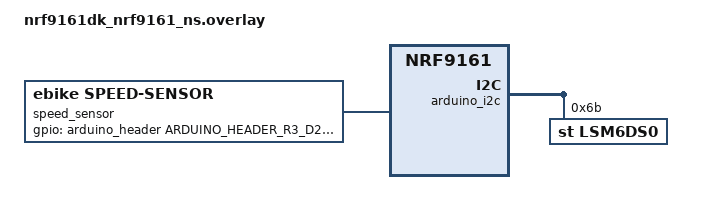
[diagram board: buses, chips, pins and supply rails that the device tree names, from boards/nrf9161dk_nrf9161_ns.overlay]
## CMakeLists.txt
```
# SPDX-License-Identifier: Apache-2.0
cmake_minimum_required(VERSION 3.20.0)

find_package(Zephyr REQUIRED HINTS $ENV{ZEPHYR_BASE})
project(ebike)

target_sources(app PRIVATE
  src/main.c
  src/modules/speed.c
  src/modules/sensor.c
  src/modules/connectivity.c
  src/events/channels.c
)

target_include_directories(app PRIVATE src)
```

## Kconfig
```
# eBike project — custom Kconfig options.

mainmenu "eBike firmware"

# === Cellular connectivity ===================================================

config EBIKE_APN
	string "SIM APN (empty = APN supplied by the network)"
	default ""
	help
	  Access Point Name forced on the default PDP context (CID 0). Leave
	  empty to let the network provide it, which is what most LTE-M IoT
	  SIMs expect. Requires CONFIG_LTE_LC_PDN_MODULE=y.

config EBIKE_PDN_IPV4_ONLY
	bool "Request an IPv4-only default PDP context"
	default n
	help
	  Diagnostic fallback: ask for IPv4 instead of IPv4v6, as some visited
	  networks reject the IPV4V6 type. No effect when EBIKE_APN is empty.

# === Shared runtime defaults (carried on CH_CONFIG) ==========================

config EBIKE_PUBLISH_RIDING_S
	int "Publish interval while riding (seconds)"
	default 60
	range 10 3600
	help
	  Interval between MQTT publications when the bike is moving. Below
	  60 s the LTE link stays in RRC connected almost permanently and
	  starves the GNSS receiver.

config EBIKE_MOTION_THRESHOLD_MG
	int "IMU motion detection threshold (milli-g)"
	default 150
	range 10 2000
	help
	  Norm of the acceleration delta between two IMU polls above which
	  movement is reported. Using the delta cancels gravity, so the test is
	  insensitive to how the bike is oriented. 150 mg ignores sensor noise
	  (~10-20 mg) while still catching someone handling the bike.

config EBIKE_GEOFENCE_RADIUS_M
	int "Default geofence radius (metres)"
	default 500
	range 20 1000000
	help
	  Allowed radius around the home point. A value pushed through the
	  Device Shadow and persisted in NVS takes precedence.

module = EBIKE
module-str = eBike
source "${ZEPHYR_BASE}/subsys/logging/Kconfig.template.log_config"

source "Kconfig.zephyr"
```

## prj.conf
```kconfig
# === eBike firmware ===

# NCS defaults for cellular samples: deferred logging, assertions, reset on
# fatal error.
CONFIG_NCS_SAMPLES_DEFAULTS=y
CONFIG_EBIKE_LOG_LEVEL_INF=y

# --- Serial console ---
CONFIG_CONSOLE=y
CONFIG_UART_CONSOLE=y
CONFIG_SERIAL=y
CONFIG_UART_INTERRUPT_DRIVEN=y

# --- TF-M (non-secure build variant) ---
CONFIG_TFM_PROFILE_TYPE_MINIMAL=y

# --- Networking: sockets are offloaded to the modem ---
CONFIG_NETWORKING=y
CONFIG_NET_NATIVE=n
CONFIG_NET_SOCKETS=y
CONFIG_NET_SOCKETS_OFFLOAD=y
CONFIG_NET_IPV4=y
CONFIG_NET_IPV6=y

# --- Modem library ---
CONFIG_NRF_MODEM_LIB=y
CONFIG_AT_MONITOR=y

# --- LTE link control ---
CONFIG_LTE_LINK_CONTROL=y
# LTE-M plus GNSS: mobility and low latency, with GNSS sharing the RF path.
CONFIG_LTE_NETWORK_MODE_LTE_M_GPS=y
# PSM is not requested: it depends on CONFIG_LTE_LC_PSM_MODULE and is rarely
# granted while roaming anyway. GNSS priority mode handles the coexistence
# instead (see location.c).
# Connection evaluation: exposes RSRP/RSRQ/EARFCN.
CONFIG_LTE_LC_CONN_EVAL_MODULE=y
# PDN module: needed to force an APN through CONFIG_EBIKE_APN.
CONFIG_LTE_LC_PDN_MODULE=y
# Modem events (%MDMEV): search progress, reset loop, overheating.
CONFIG_LTE_LC_MODEM_EVENTS_MODULE=y

# Float formatting in logs (RSRQ in dB).
CONFIG_CBPRINTF_FP_SUPPORT=y

# --- Development shell on the NS console, used by flash.sh ---
# `at AT+CFUN=0` before every flash keeps the reset out of the modem RESET LOOP
# counter and saves the network cache to NVM.
CONFIG_SHELL=y
CONFIG_AT_SHELL=y

# --- IMU: LSM6DS0 on the X-NUCLEO-IKS01A1 shield (arduino_i2c) ---
# The driver enables itself from the devicetree node and pulls in CONFIG_I2C.
CONFIG_SENSOR=y
# Only the accelerometer is used, so the gyroscope axes stay unconfigured and
# the sensor draws less current.
CONFIG_LSM6DS0_GYRO_ENABLE_X_AXIS=n
CONFIG_LSM6DS0_GYRO_ENABLE_Y_AXIS=n
CONFIG_LSM6DS0_GYRO_ENABLE_Z_AXIS=n

# --- Wheel speed sensor (GPIO interrupt) ---
CONFIG_GPIO=y

# --- A-GNSS assistance from nRF Cloud (CoAP) ---
# The modem asks for assistance (ephemerides, almanac, time, position); it is
# fetched from nRF Cloud over CoAP as a one-shot request, independent of the
# AWS link. The board must be onboarded on nRF Cloud with credentials in the
# nRF Cloud sec_tag.
CONFIG_EBIKE_AGNSS=y
CONFIG_NRF_CLOUD=y
CONFIG_NRF_CLOUD_COAP=y
CONFIG_NRF_CLOUD_AGNSS=y
# Approximate position from the serving cell, which speeds up the TTFF.
CONFIG_MODEM_INFO=y
CONFIG_MODEM_INFO_ADD_NETWORK=y
# JWT self-signed by the modem key for nRF Cloud authentication.
CONFIG_MODEM_JWT=y
CONFIG_DATE_TIME=y
# CoAP settings required by nRF Cloud: the Zephyr defaults (256-byte buffers)
# are too small for the ~700-byte auth JWT and coap_client_req returns -EINVAL.
# KEEPOPEN preserves the DTLS session (CID) on nRF91x1.
CONFIG_COAP_CLIENT_BLOCK_SIZE=1024
CONFIG_COAP_CLIENT_MESSAGE_SIZE=1024
CONFIG_COAP_CLIENT_STACK_SIZE=6144
CONFIG_COAP_CLIENT_THREAD_PRIORITY=0
CONFIG_COAP_EXTENDED_OPTIONS_LEN_VALUE=64
CONFIG_NRF_CLOUD_COAP_KEEPOPEN=y

# --- Persistent configuration: NVS on the `storage` partition ---
CONFIG_FLASH=y
CONFIG_FLASH_MAP=y
CONFIG_FLASH_PAGE_LAYOUT=y
CONFIG_NVS=y
# Allow flash writes despite the MPU, required for NVS on internal flash.
CONFIG_MPU_ALLOW_FLASH_WRITE=y

# --- Diagnostics: last reset cause (RESETREAS through hwinfo) ---
CONFIG_HWINFO=y

# --- Diagnostics: fatal error captured and reported on the next boot ---
# Replaces the reset-on-fatal of NCS_SAMPLES_DEFAULTS with our own handler,
# which stores reason/PC/thread in retained RAM before rebooting. THREAD_NAME
# names the guilty thread in the capture.
CONFIG_RESET_ON_FATAL_ERROR=n
CONFIG_THREAD_NAME=y
CONFIG_REBOOT=y

# --- Watchdog: catch SILENT hangs ---
# The fatal handler only sees FATAL errors. A thread stuck on a socket or a
# mutex produces no fault: the bike would go mute with nothing to report it.
# The task watchdog gives one channel per critical loop on top of the single
# hardware WDT (wdt0, mapped NON-SECURE on nRF9161, so the NS app can use it).
CONFIG_WATCHDOG=y
CONFIG_TASK_WDT=y
# TASK_WDT_MIN_TIMEOUT bounds the period of the background channel that feeds
# the hardware WDT. The 100 ms default would wake the core ten times a second,
# which is unacceptable on battery. 10 s is the maximum allowed and stays well
# below the shortest channel timeout (EBIKE_WDT_TIMEOUT_S = 30 s).
CONFIG_TASK_WDT_MIN_TIMEOUT=10000

# --- Stacks and heap ---
CONFIG_MAIN_STACK_SIZE=4096
CONFIG_HEAP_MEM_POOL_SIZE=16384

# --- Event bus ---
CONFIG_ZBUS=y
CONFIG_AT_MONITOR_HEAP_SIZE=512
```

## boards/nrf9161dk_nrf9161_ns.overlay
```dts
/*
 * eBike tracker — nRF9161-DK, non-secure (TF-M) variant.
 *
 * Bootloader-less flash layout plus the SRAM partitions used by the NCS
 * cellular samples: the application boots straight into TF-M + NS, with no
 * MCUboot. This is required because the board is always programmed with
 * `west flash --recover` (APPROTECT re-locks on every boot), and only this
 * layout comes back up after a full erase.
 *
 * IMU: only the LSM6DS0 of the X-NUCLEO-IKS01A1 shield is declared. The other
 * sensors on the shield (HTS221, LPS25HB, LIS3MDL) are unused, and declaring
 * them would enable their drivers for nothing. Address 0x6b: SA0 tied to VDD
 * by the shield default.
 *
 * Wheel speed sensor (reed/Hall, one magnet): D2 = P0.02, the only pin left
 * free on the DK (LEDs, buttons and UARTs take the rest) that the IKS01A*
 * shields never use as an interrupt. Wiring: reed switch between D2 and GND
 * on the shield through-holes, internal pull-up, pulse = edge to ground.
 */

#include <samples/cellular/nrf91_no_bootloader_partitions.dtsi>
#include <samples/cellular/nrf91_sram_partitions.dtsi>
#include <zephyr/dt-bindings/gpio/arduino-header-r3.h>

/ {
	aliases {
		accel0 = &lsm6ds0;
	};

	speed_sensor: speed-sensor {
		compatible = "ebike,speed-sensor";
		gpios = <&arduino_header ARDUINO_HEADER_R3_D2
			 (GPIO_PULL_UP | GPIO_ACTIVE_LOW)>;
	};
};

&arduino_i2c {
	lsm6ds0: lsm6ds0@6b {
		compatible = "st,lsm6ds0";
		reg = <0x6b>;
	};
};
```

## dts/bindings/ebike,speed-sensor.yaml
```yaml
# Wheel speed sensor: a reed or Hall switch and one magnet on the wheel, giving
# one interrupt per turn on a GPIO.

description: Wheel speed sensor (reed/Hall, one pulse per turn)

compatible: "ebike,speed-sensor"

properties:
  gpios:
    type: phandle-array
    required: true
    description: |
      Sensor GPIO. Devicetree flags carry pull and polarity, for example
      GPIO_PULL_UP | GPIO_ACTIVE_LOW for a reed switch wired to ground.
```

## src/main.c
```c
/*
 * eBike tracker — nRF9161.
 *
 * Boot is sequential and timing sensitive (credential provisioning needs the
 * CFUN=0 window): modem init -> AWS credentials -> LTE attach -> cloud ->
 * GNSS -> sensors. That part stays in main(); the state machine then takes
 * over the running behaviour:
 *
 *   CONNECT --(cloud connected)--> PARKED <=> RIDING
 *                                     | (armed + movement)
 *                                     v
 *                                   ALARM --(disarmed)--> PARKED
 *
 *   RIDING: movement detected — publishing at the configured rate.
 *   PARKED: still for CONFIG_EBIKE_PARK_TIMEOUT_S — reduced rate, which means
 *           fewer LTE wake-ups, more RF windows for GNSS and less cellular
 *           data.
 *   ALARM:  anti-theft, armed through the Device Shadow. Any movement raises
 *           CH_ALERT (immediate MQTT) and tracking returns to the riding rate.
 *           Only a remote disarm leaves this state.
 *
 * The state machine is driven by the zbus channels through a subscriber: the
 * main thread sleeps until something is published (the sensor tickers wake it
 * about once a second, with a 5 s fallback timeout).
 */

#include <zephyr/kernel.h>
#include <zephyr/logging/log.h>
#include <zephyr/smf.h>
#include <zephyr/zbus/zbus.h>

#include <stdio.h>

#include <cJSON.h>

#include "events/channels.h"
#include "modules/connectivity.h"
#include "modules/cloud.h"
#include "modules/diag.h"
#include "modules/geofence.h"
#include "modules/location.h"
#include "modules/sensor.h"
#include "modules/speed.h"
#include "modules/status_led.h"
#include "modules/storage.h"
#include "modules/wdt.h"

LOG_MODULE_REGISTER(ebike, CONFIG_EBIKE_LOG_LEVEL);

/* ---------- State machine ---------- */

/* New alert at most every N ms while movement continues. */
#define ALARM_REALERT_MS (60 * MSEC_PER_SEC)

enum sm_state_id {
	ST_CONNECT, /* LTE attached, waiting for the AWS broker */
	ST_RIDING,  /* moving: telemetry at full rate */
	ST_PARKED,  /* still: reduced rate; armed when cfg.armed */
	ST_ALARM,   /* armed and moving: alert plus close tracking */
};

struct sm_object {
	struct smf_ctx ctx; /* MUST stay the first member (SMF cast) */

	/* Inputs, refreshed from the zbus channels. */
	bool lte_connected;
	bool wheel_moving;
	bool imu_moving;

	/* Effective configuration (Device Shadow -> CH_CONFIG, NVS backed). */
	struct msg_config cfg;

	/* When movement was last seen (wheel OR IMU). */
	int64_t last_movement_ms;

	/* When the last alert was raised (ALARM state). */
	int64_t last_alert_ms;
};

static const struct smf_state sm_states[];

/* zbus subscriber of the state machine: a notification queue that the main
 * thread drains in the event loop below. */
ZBUS_SUBSCRIBER_DEFINE(sm_sub, 8);
ZBUS_CHAN_ADD_OBS(CH_LTE_STATUS, sm_sub, 3);
ZBUS_CHAN_ADD_OBS(CH_SPEED, sm_sub, 3);
ZBUS_CHAN_ADD_OBS(CH_MOTION, sm_sub, 3);
ZBUS_CHAN_ADD_OBS(CH_CLOUD_CMD, sm_sub, 3);
ZBUS_CHAN_ADD_OBS(CH_CONFIG, sm_sub, 3);

static bool sm_movement(const struct sm_object *sm)
{
	return sm->wheel_moving || sm->imu_moving;
}

static const char *sm_state_name(const struct sm_object *sm)
{
	if (SMF_CTX(sm)->current == &sm_states[ST_RIDING]) {
		return "riding";
	}
	if (SMF_CTX(sm)->current == &sm_states[ST_PARKED]) {
		return "parked";
	}
	if (SMF_CTX(sm)->current == &sm_states[ST_ALARM]) {
		return "alarm";
	}
	return "connect";
}

/* --- CONNECT --- */

static void connect_entry(void *obj)
{
	LOG_INF("State => CONNECT (waiting for the AWS broker)");
}

static enum smf_state_result connect_run(void *obj)
{
	struct sm_object *sm = obj;

	if (cloud_is_connected()) {
		/* Start parked: the first movement switches to RIDING. */
		smf_set_state(SMF_CTX(sm), &sm_states[ST_PARKED]);
	}

	return SMF_EVENT_HANDLED;
}

/* --- RIDING --- */

static void riding_entry(void *obj)
{
	struct sm_object *sm = obj;

	LOG_INF("State => RIDING (rate %u s)", sm->cfg.publish_interval_s);
	sm->last_movement_ms = k_uptime_get();
	location_set_sample_interval(CONFIG_EBIKE_TELEMETRY_SAMPLE_S);
	cloud_set_publish_interval(sm->cfg.publish_interval_s);
	(void)cloud_report_shadow(&sm->cfg, "riding");
}

static enum smf_state_result riding_run(void *obj)
{
	struct sm_object *sm = obj;
	int64_t now = k_uptime_get();

	/* Armed remotely while the bike is moving: that is a theft. */
	if (sm->cfg.armed && sm_movement(sm)) {
		smf_set_state(SMF_CTX(sm), &sm_states[ST_ALARM]);
		return SMF_EVENT_HANDLED;
	}

	if (sm_movement(sm)) {
		sm->last_movement_ms = now;
	} else if (now - sm->last_movement_ms >
		   (int64_t)CONFIG_EBIKE_PARK_TIMEOUT_S * MSEC_PER_SEC) {
		smf_set_state(SMF_CTX(sm), &sm_states[ST_PARKED]);
	}

	return SMF_EVENT_HANDLED;
}

/* --- PARKED --- */

static void parked_entry(void *obj)
{
	struct sm_object *sm = obj;

	LOG_INF("State => PARKED (rate %d s%s)", CONFIG_EBIKE_PUBLISH_PARKED_S,
		sm->cfg.armed ? ", ARMED" : "");
	/* A parked bike has not moved for PARK_TIMEOUT_S by construction, so
	 * recording its position every few seconds only accumulates identical
	 * points that then have to be flushed in a burst — and a burst is
	 * exactly what starves the GNSS and stresses the link. */
	location_set_sample_interval(CONFIG_EBIKE_TELEMETRY_SAMPLE_PARKED_S);
	cloud_set_publish_interval(CONFIG_EBIKE_PUBLISH_PARKED_S);
	(void)cloud_report_shadow(&sm->cfg, "parked");
}

static enum smf_state_result parked_run(void *obj)
{
	struct sm_object *sm = obj;

	if (sm_movement(sm)) {
		smf_set_state(SMF_CTX(sm), sm->cfg.armed
					   ? &sm_states[ST_ALARM]
					   : &sm_states[ST_RIDING]);
	}

	return SMF_EVENT_HANDLED;
}

/* --- ALARM --- */

static void alarm_alert(struct sm_object *sm)
{
	struct msg_alert alert = {
		.cause = ALERT_MOTION_WHILE_ARMED,
		.fix_age_s = -1,
	};
	struct location_fix fix;

	/* Attach the position to the theft alert: this is the alert where it
	 * matters most, and it costs no extra publication. The last known fix
	 * is sent WITH its age — during an alarm the LTE link starves the GNSS,
	 * so the fix may be minutes old and the recipient must be able to
	 * judge. */
	if (location_get_fix(&fix)) {
		alert.has_pos = true;
		alert.lat = fix.lat;
		alert.lon = fix.lon;
		alert.acc_m = fix.accuracy_m;
		alert.fix_age_s = (int32_t)(fix.age_ms / MSEC_PER_SEC);
	}

	sm->last_alert_ms = k_uptime_get();
	/* The cloud listener timestamps and enqueues the alert; the send leaves
	 * on the cloud workqueue, outside the telemetry cycle. With the link
	 * down it stays queued and is replayed with its age, so a theft that
	 * happens out of coverage is no longer lost. */
	(void)zbus_chan_pub(&CH_ALERT, &alert, K_MSEC(100));
}

static void alarm_entry(void *obj)
{
	struct sm_object *sm = obj;

	LOG_WRN("State => ALARM (movement while armed) — tracking %u s",
		sm->cfg.publish_interval_s);
	/* Theft in progress: back to fine resolution, this is when the trace
	 * matters most. */
	location_set_sample_interval(CONFIG_EBIKE_TELEMETRY_SAMPLE_S);
	alarm_alert(sm);
	cloud_set_publish_interval(sm->cfg.publish_interval_s);
	(void)cloud_report_shadow(&sm->cfg, "alarm");
}

static enum smf_state_result alarm_run(void *obj)
{
	struct sm_object *sm = obj;

	/* Only a remote disarm (shadow desired.armed=false) leaves this state:
	 * a stolen bike that stopped moving stays in alarm. */
	if (!sm->cfg.armed) {
		LOG_INF("Disarmed remotely — end of alert");
		smf_set_state(SMF_CTX(sm), &sm_states[ST_PARKED]);
		return SMF_EVENT_HANDLED;
	}

	/* Periodic reminder while movement continues. */
	if (sm_movement(sm) &&
	    (k_uptime_get() - sm->last_alert_ms) > ALARM_REALERT_MS) {
		alarm_alert(sm);
	}

	return SMF_EVENT_HANDLED;
}

static const struct smf_state sm_states[] = {
	[ST_CONNECT] = SMF_CREATE_STATE(connect_entry, connect_run, NULL,
					NULL, NULL),
	[ST_RIDING] = SMF_CREATE_STATE(riding_entry, riding_run, NULL,
				       NULL, NULL),
	[ST_PARKED] = SMF_CREATE_STATE(parked_entry, parked_run, NULL,
				       NULL, NULL),
	[ST_ALARM] = SMF_CREATE_STATE(alarm_entry, alarm_run, NULL,
				      NULL, NULL),
};

/* One-shot command received on bike/<id>/cmd.
 * {"set_home":true} makes the current GNSS position the geofence reference,
 * which saves entering lat/lon by hand in the shadow. */
static void sm_handle_cloud_cmd(struct sm_object *sm, const char *json)
{
	cJSON *root = cJSON_Parse(json);
	cJSON *item;

	if (root == NULL) {
		return;
	}

	item = cJSON_GetObjectItem(root, "set_home");
	if (cJSON_IsTrue(item) ||
	    (cJSON_IsNumber(item) && item->valueint != 0)) {
		struct location_fix fix;

		if (!location_get_fix(&fix)) {
			LOG_WRN("set_home: no GNSS fix — command ignored");
		} else {
			sm->cfg.home_lat = fix.lat;
			sm->cfg.home_lon = fix.lon;
			sm->cfg.home_set = true;
			(void)storage_set_home(fix.lat, fix.lon);
			(void)cloud_desire_home(fix.lat, fix.lon);
			geofence_apply_config(&sm->cfg);
			LOG_INF("Geofence: home set here — %.6f, %.6f "
				"(+/-%.0f m)", fix.lat, fix.lon,
				(double)fix.accuracy_m);
			/* Republish the merged configuration so the next shadow
			 * deltas start from this base; the report to AWS leaves
			 * when the CH_CONFIG notification comes back. */
			(void)zbus_chan_pub(&CH_CONFIG, &sm->cfg, K_MSEC(100));
		}
	}

	cJSON_Delete(root);
}

/* Refresh the state machine inputs from the channel that just published. */
static void sm_consume(struct sm_object *sm, const struct zbus_channel *chan)
{
	if (chan == &CH_SPEED) {
		struct msg_speed msg;

		if (zbus_chan_read(&CH_SPEED, &msg, K_MSEC(100)) == 0) {
			sm->wheel_moving = msg.moving;
		}
	} else if (chan == &CH_MOTION) {
		struct msg_motion msg;

		if (zbus_chan_read(&CH_MOTION, &msg, K_MSEC(100)) == 0) {
			sm->imu_moving = msg.moving;
		}
	} else if (chan == &CH_LTE_STATUS) {
		struct msg_lte_status msg;

		if (zbus_chan_read(&CH_LTE_STATUS, &msg, K_MSEC(100)) == 0) {
			if (sm->lte_connected && !msg.connected) {
				LOG_WRN("LTE lost — lte_lc is reconnecting");
			}
			sm->lte_connected = msg.connected;
		}
	} else if (chan == &CH_CLOUD_CMD) {
		struct msg_cloud_cmd msg;

		if (zbus_chan_read(&CH_CLOUD_CMD, &msg, K_MSEC(100)) == 0) {
			/* Arm and disarm go through the shadow; the cmd topic
			 * carries one-shot commands such as set_home. */
			LOG_INF("Cloud command received: %s", msg.json);
			sm_handle_cloud_cmd(sm, msg.json);
		}
	} else if (chan == &CH_CONFIG) {
		struct msg_config cfg;

		if (zbus_chan_read(&CH_CONFIG, &cfg, K_MSEC(100)) != 0) {
			return;
		}

		/* Apply and persist the changes, then report back to the
		 * shadow, which settles the delta on the AWS side. */
		if (cfg.armed != sm->cfg.armed) {
			LOG_WRN("Anti-theft %s (via shadow)",
				cfg.armed ? "ARMED" : "disarmed");
			(void)storage_set_armed(cfg.armed);
		}
		if (cfg.publish_interval_s != sm->cfg.publish_interval_s) {
			(void)storage_set_publish_interval_s(
				cfg.publish_interval_s);
			/* Active rate in RIDING/ALARM: apply immediately. */
			if (SMF_CTX(sm)->current == &sm_states[ST_RIDING] ||
			    SMF_CTX(sm)->current == &sm_states[ST_ALARM]) {
				cloud_set_publish_interval(
					cfg.publish_interval_s);
			}
		}
		if (cfg.motion_threshold_mg != sm->cfg.motion_threshold_mg) {
			(void)storage_set_motion_threshold_mg(
				cfg.motion_threshold_mg);
			imu_set_motion_threshold_mg(cfg.motion_threshold_mg);
		}
		if (cfg.home_set != sm->cfg.home_set ||
		    cfg.home_lat != sm->cfg.home_lat ||
		    cfg.home_lon != sm->cfg.home_lon) {
			(void)storage_set_home(cfg.home_lat, cfg.home_lon);
			LOG_INF("Geofence: home %.6f, %.6f (via shadow)",
				cfg.home_lat, cfg.home_lon);
		}
		if (cfg.geofence_radius_m != sm->cfg.geofence_radius_m) {
			(void)storage_set_geofence_radius_m(
				cfg.geofence_radius_m);
		}
		if (cfg.geofence_enabled != sm->cfg.geofence_enabled) {
			(void)storage_set_geofence_enabled(
				cfg.geofence_enabled);
			LOG_WRN("Geofence %s (via shadow)",
				cfg.geofence_enabled ? "ENABLED" : "disabled");
		}
		/* Self-diffing: no effect when the geofence fields are
		 * unchanged, so a plain arm/disarm does not reset the zone. */
		geofence_apply_config(&cfg);

		sm->cfg = cfg;
		(void)cloud_report_shadow(&sm->cfg, sm_state_name(sm));
	}
}

/* ---------- Boot and event loop ---------- */

int main(void)
{
	struct sm_object sm = {0};
	int err;

	/* Raw printk, independent of the logging subsystem, so a board that
	 * boots can be told apart from one that does not. */
	printk("\n>>> eBike: main() started <<<\n");

	LOG_INF("=================================================");
	LOG_INF(" eBike tracker firmware");
	LOG_INF(" Board: %s", CONFIG_BOARD);
	LOG_INF("=================================================");

	/* Status LEDs FIRST: on battery there is no console, and every boot
	 * step below (modem init, credential provisioning, LTE attach) is long
	 * enough to stall — the heartbeat has to be blinking while they run,
	 * otherwise a stalled boot is indistinguishable from a dead board. */
	(void)status_led_init();

	/* Reset cause BEFORE anything else: this is what makes repeated field
	 * reboots diagnosable (published in the status). */
	(void)diag_init();

	err = connectivity_init();
	if (err) {
		LOG_ERR("Connectivity init failed (%d) — stopping.", err);
		return 0;
	}

	/* TLS credentials into the modem: needs the CFUN=0 window, before the
	 * attach. */
	err = cloud_provision_credentials();
	if (err) {
		LOG_ERR("AWS credential provisioning failed (%d) — stopping.",
			err);
		return 0;
	}

	err = connectivity_connect();
	if (err) {
		LOG_ERR("LTE connection failed (%d) — stopping.", err);
		return 0;
	}

	LOG_INF("Waiting for network attach...");

	/* Non-blocking wait with progress logs: do not give up on the first
	 * timeout, since a freshly activated SIM can take minutes to be
	 * authorised on a roaming network. */
	while (!connectivity_is_connected()) {
		if (connectivity_wait_for_connection(20 * 1000) == 0) {
			break;
		}
		connectivity_log_status();
	}
	sm.lte_connected = true;

	LOG_INF("Modem registered — IP address obtained.");

	/* AWS IoT broker connection (asynchronous, retries internally). */
	err = cloud_init();
	if (err) {
		LOG_ERR("Cloud init failed (%d) — stopping.", err);
		return 0;
	}
	(void)cloud_connect();

	/* GNSS: periodic fixes coexisting with LTE. */
	err = location_start();
	if (err) {
		LOG_WRN("GNSS unavailable (%d) — continuing without position.",
			err);
	}

	/* IMU: accelerometer polling (X-NUCLEO-IKS01A1 shield). */
	err = imu_init();
	if (err) {
		LOG_WRN("IMU unavailable (%d) — continuing without "
			"acceleration.", err);
	}

	/* Persistent configuration (NVS) then the wheel speed sensor. */
	err = storage_init();
	if (err) {
		LOG_WRN("NVS unavailable (%d) — using Kconfig defaults.", err);
	}
	speed_set_wheel_circ_mm(storage_get_wheel_circ_mm());
	err = speed_init();
	if (err) {
		LOG_WRN("Speed sensor unavailable (%d) — continuing without.",
			err);
	}

	/* Persisted anti-theft and geofence configuration, reloaded at boot: a
	 * bike stolen with the battery disconnected comes back up ARMED, zone
	 * included. Published on CH_CONFIG so shadow merges start from the
	 * right base. */
	sm.cfg = (struct msg_config){
		.armed = storage_get_armed(),
		.publish_interval_s = storage_get_publish_interval_s(),
		.motion_threshold_mg = storage_get_motion_threshold_mg(),
		.geofence_radius_m = storage_get_geofence_radius_m(),
		.geofence_enabled = storage_get_geofence_enabled(),
	};
	sm.cfg.home_set = storage_get_home(&sm.cfg.home_lat, &sm.cfg.home_lon);
	imu_set_motion_threshold_mg(sm.cfg.motion_threshold_mg);
	geofence_apply_config(&sm.cfg);
	(void)zbus_chan_pub(&CH_CONFIG, &sm.cfg, K_MSEC(100));
	if (sm.cfg.armed) {
		LOG_WRN("Booting ARMED (persisted state) — any movement will "
			"alert");
	}

	/* Watchdog LAST, once every watched loop is running: the nRF91
	 * watchdog can no longer be stopped once started, so it must never run
	 * during an incomplete boot (a long LTE attach or certificate
	 * provisioning feeds nothing). A failure here is not fatal — a bike
	 * without a watchdog beats a bike that does not start. */
	err = wdt_init();
	if (err) {
		LOG_WRN("Watchdog unavailable (%d) — hangs unmonitored.", err);
	}

	/* ---- State machine takes over ---- */
	smf_set_initial(SMF_CTX(&sm), &sm_states[ST_CONNECT]);

	while (1) {
		const struct zbus_channel *chan = NULL;

		/* Proof of life for the event loop: it comes back here at least
		 * every 5 s (the timeout below), well under the channel
		 * timeout. */
		wdt_feed_main();

		/* Woken by any observed publication (sensor tickers, about
		 * once a second); the fallback timeout keeps the state machine
		 * running if the producers are silent (missing sensors). */
		if (zbus_sub_wait(&sm_sub, &chan, K_SECONDS(5)) == 0) {
			sm_consume(&sm, chan);
		}

		if (smf_run_state(SMF_CTX(&sm))) {
			LOG_ERR("State machine terminated — stopping.");
			break;
		}
	}

	return 0;
}
```
